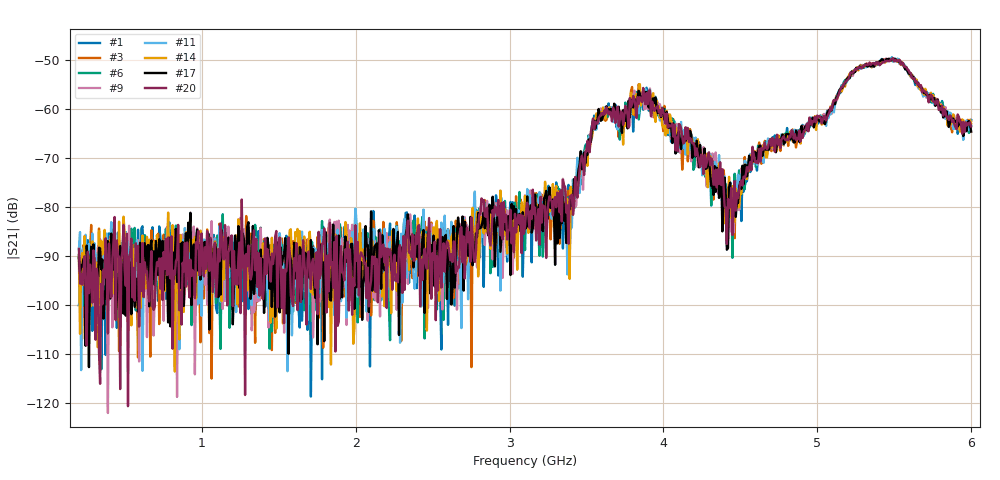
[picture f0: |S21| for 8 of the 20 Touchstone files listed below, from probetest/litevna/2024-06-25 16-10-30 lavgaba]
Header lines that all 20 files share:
! NanoVNA-App
! Start: 200MHz Stop: 6GHz Points: 801
! S-Parameter data: F S11 S21 S12 S22
# Hz S RI R 50
!  Frequency  S11_Real  S11_Imag  S21_Real  S21_Imag  S12_Real  S12_Imag  S22_Real  S22_Imag
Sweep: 200 MHz to 6 GHz
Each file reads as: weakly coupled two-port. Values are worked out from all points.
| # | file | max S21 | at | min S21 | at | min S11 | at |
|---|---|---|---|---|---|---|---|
| 1 | 3.s2p | -49.43 dB | 5.485 GHz | -118.7 dB | 1.708 GHz | -5.5 dB | 2.948 GHz |
| 2 | 5.s2p | -49.65 dB | 5.492 GHz | -113.1 dB | 214.5 MHz | -5.5 dB | 2.948 GHz |
| 3 | 8.s2p | -49.83 dB | 5.463 GHz | -115.0 dB | 1.063 GHz | -5.5 dB | 2.948 GHz |
| 4 | 9.s2p | -49.75 dB | 5.492 GHz | -111.2 dB | 548 MHz | -5.5 dB | 2.948 GHz |
| 5 | 10.s2p | -49.64 dB | 5.507 GHz | -111.2 dB | 1.056 GHz | -5.5 dB | 2.948 GHz |
| 6 | 12.s2p | -49.80 dB | 5.463 GHz | -109.0 dB | 1.121 GHz | -5.5 dB | 2.948 GHz |
| 7 | 13.s2p | -49.51 dB | 5.478 GHz | -114.6 dB | 1.121 GHz | -5.5 dB | 2.948 GHz |
| 8 | 14.s2p | -49.47 dB | 5.485 GHz | -115.1 dB | 424.8 MHz | -5.5 dB | 2.948 GHz |
| 9 | 16.s2p | -49.65 dB | 5.449 GHz | -122.0 dB | 388.5 MHz | -5.5 dB | 2.948 GHz |
| 10 | 17.s2p | -49.60 dB | 5.521 GHz | -117.1 dB | 1.07 GHz | -5.5 dB | 2.948 GHz |
| 11 | 18.s2p | -49.64 dB | 5.478 GHz | -113.5 dB | 1.556 GHz | -5.5 dB | 2.948 GHz |
| 12 | 19.s2p | -49.45 dB | 5.463 GHz | -117.0 dB | 1.592 GHz | -5.5 dB | 2.948 GHz |
| 13 | 20.s2p | -49.46 dB | 5.471 GHz | -111.3 dB | 511.8 MHz | -5.5 dB | 2.948 GHz |
| 14 | 21.s2p | -49.68 dB | 5.492 GHz | -113.6 dB | 823.5 MHz | -5.5 dB | 2.948 GHz |
| 15 | 24.s2p | -49.62 dB | 5.478 GHz | -116.8 dB | 1.947 GHz | -5.5 dB | 2.948 GHz |
| 16 | 26.s2p | -49.61 dB | 5.478 GHz | -114.8 dB | 1.469 GHz | -5.5 dB | 2.948 GHz |
| 17 | 28.s2p | -49.74 dB | 5.463 GHz | -112.7 dB | 265.2 MHz | -5.5 dB | 2.948 GHz |
| 18 | 29.s2p | -49.54 dB | 5.478 GHz | -114.4 dB | 903.2 MHz | -5.5 dB | 2.948 GHz |
| 19 | 30.s2p | -49.85 dB | 5.5 GHz | -130.7 dB | 1.433 GHz | -5.5 dB | 2.948 GHz |
| 20 | 31.s2p | -49.63 dB | 5.492 GHz | -120.6 dB | 519 MHz | -5.5 dB | 2.948 GHz |
